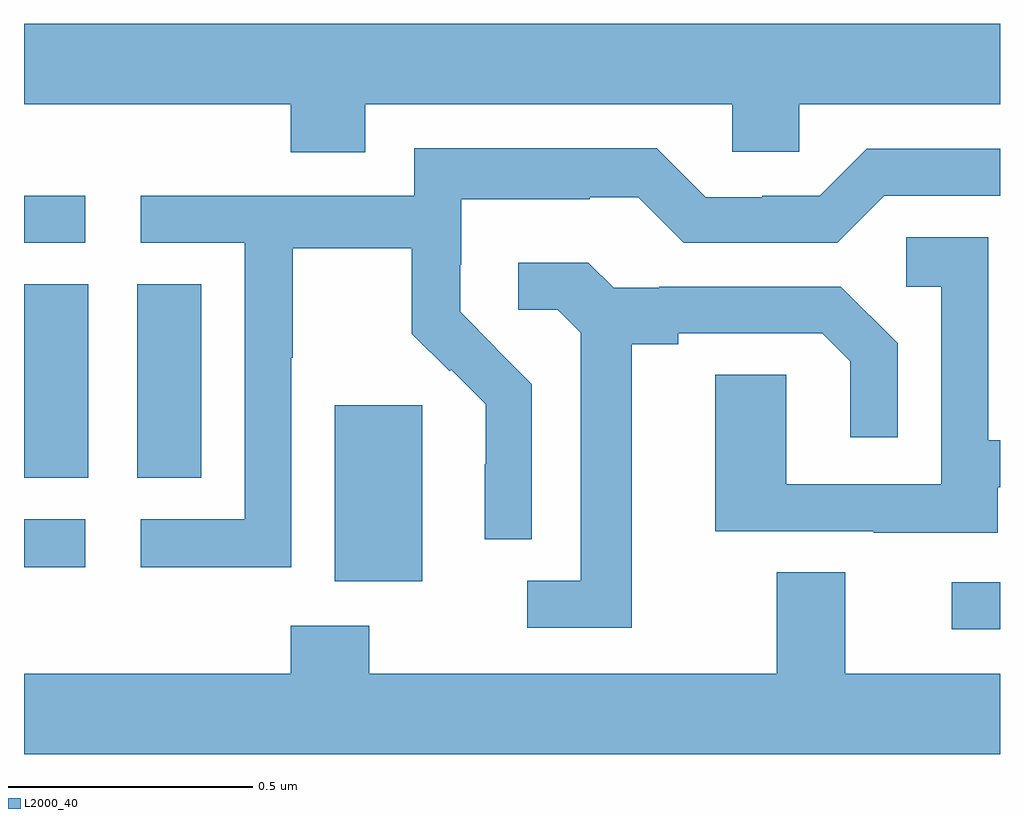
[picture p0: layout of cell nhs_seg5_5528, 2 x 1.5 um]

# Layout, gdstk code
import gdstk
lib = gdstk.Library(unit=1e-6, precision=1e-09)
def R(c, l, rs):  # rectangles x0, y0, x1, y1
    for r in rs: c.add(gdstk.rectangle(r[:2], r[2:], *l))
def P(c, l, *ps):  # polygons
    for p in ps: c.add(gdstk.Polygon(p, *l))
L2000_40 = (2000, 40)

nhs_seg5_5528 = lib.new_cell('nhs_seg5_5528')
R(nhs_seg5_5528, L2000_40, [(185.901,870.336,186,870.432), (184.637,870.434,184.816,870.795), (184,870.463,184.126,870.561), (184.001,870.646,184.132,871.043), (184.232,870.646,184.363,871.043), (184,871.128,184.126,871.224)])
P(nhs_seg5_5528, L2000_40, [(184.699,871.412),(185.451,871.412),(185.451,871.314),(185.589,871.314),(185.589,871.412),(186,871.412),(186,871.576),(184,871.576),(184,871.412),(184.547,871.412),(184.547,871.313),(184.699,871.313)],
  [(184.548,870.892),(184.551,870.892),(184.551,871.116),(184.795,871.116),(184.795,870.941),(184.872,870.864),(184.875,870.867),(184.946,870.797),(184.946,870.674),(184.944,870.674),(184.944,870.52),(185.04,870.52),(185.04,870.838),(184.967,870.911),(184.968,870.912),(184.894,870.986),(184.894,871.083),(184.896,871.083),(184.896,871.217),(185.159,871.217),(185.159,871.221),(185.259,871.221),(185.352,871.128),(185.667,871.128),(185.763,871.224),(186,871.224),(186,871.32),(185.727,871.32),(185.631,871.224),(185.513,871.224),(185.513,871.221),(185.397,871.221),(185.297,871.321),(184.8,871.321),(184.8,871.224),(184.239,871.224),(184.239,871.128),(184.452,871.128),(184.452,870.561),(184.239,870.561),(184.239,870.463),(184.548,870.463)],
  [(185.995,870.627),(186,870.627),(186,870.723),(185.976,870.723),(185.976,871.139),(185.808,871.139),(185.808,871.038),(185.88,871.038),(185.88,870.633),(185.562,870.633),(185.562,870.857),(185.417,870.857),(185.417,870.537),(185.741,870.537),(185.741,870.533),(185.995,870.533)],
  [(185.245,870.92),(185.341,870.92),(185.341,870.942),(185.636,870.942),(185.693,870.885),(185.693,870.729),(185.79,870.729),(185.79,870.922),(185.674,871.038),(185.302,871.038),(185.302,871.035),(185.208,871.035),(185.156,871.087),(185.013,871.087),(185.013,870.99),(185.094,870.99),(185.141,870.943),(185.141,870.435),(185.031,870.435),(185.031,870.339),(185.245,870.339)],
  [(186,870.244),(185.683,870.244),(185.683,870.452),(185.543,870.452),(185.543,870.244),(184.707,870.244),(184.707,870.343),(184.547,870.343),(184.547,870.244),(184,870.244),(184,870.08),(186,870.08)])

lib.write_gds('nhs_seg5_5528.gds')
